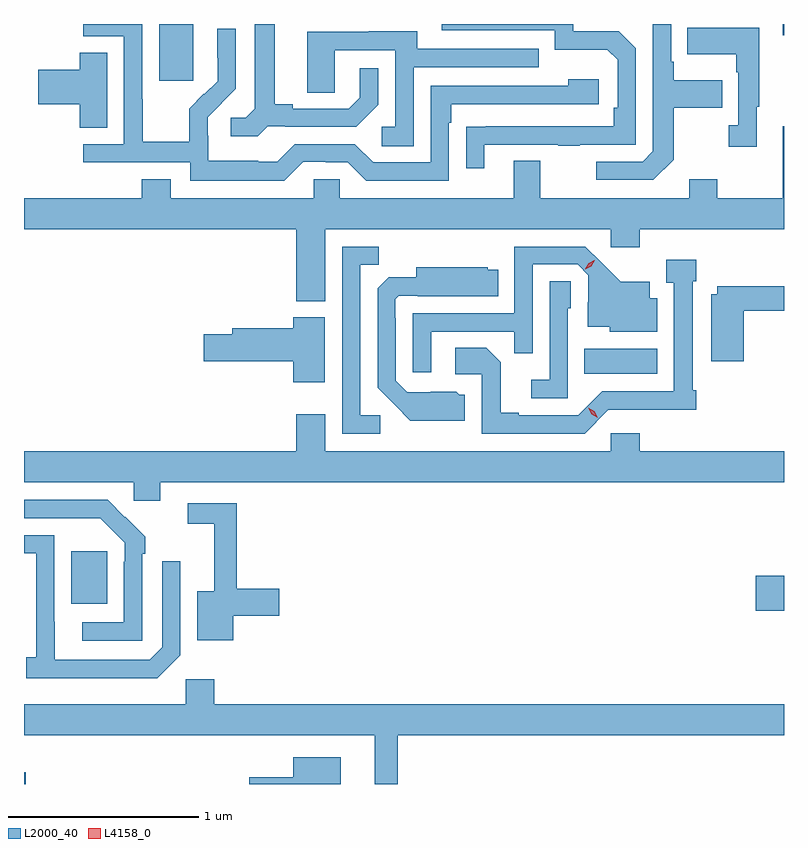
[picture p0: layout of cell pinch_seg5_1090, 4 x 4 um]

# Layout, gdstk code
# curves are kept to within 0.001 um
import gdstk
lib = gdstk.Library(unit=1e-6, precision=1e-09)
def R(c, l, rs):  # rectangles x0, y0, x1, y1
    for r in rs: c.add(gdstk.rectangle(r[:2], r[2:], *l))
def P(c, l, *ps):  # polygons
    for p in ps: c.add(gdstk.Polygon(p, *l))
L2000_40 = (2000, 40)
L4158_0 = (4158, 0)

pinch_seg5_1090 = lib.new_cell('pinch_seg5_1090')
R(pinch_seg5_1090, L2000_40, [(789.986,836.524,789.995,836.587), (793.836,837.437,793.986,837.62), (790.235,837.473,790.423,837.748), (792.934,838.682,793.318,838.816), (790.697,840.225,790.876,840.524), (793.979,840.465,793.986,840.524)])
P(pinch_seg5_1090, L2000_40, [(793.405,839.809),(793.405,840.082),(793.661,840.082),(793.661,840.229),(793.405,840.229),(793.405,840.325),(793.392,840.325),(793.392,840.524),(793.296,840.524),(793.296,839.853),(793.242,839.799),(792.999,839.799),(792.999,839.703),(793.299,839.703)],
  [(791.268,839.985),(791.362,839.985),(791.362,839.982),(791.734,839.982),(791.85,840.098),(791.85,840.292),(791.753,840.292),(791.753,840.135),(791.696,840.078),(791.401,840.078),(791.401,840.101),(791.305,840.101),(791.305,840.524),(791.201,840.524),(791.201,840.077),(791.154,840.03),(791.073,840.03),(791.073,839.933),(791.216,839.933)],
  [(792.409,839.889),(792.799,839.889),(792.799,839.884),(792.911,839.884),(792.911,839.889),(793.206,839.889),(793.206,840.396),(793.116,840.486),(792.876,840.486),(792.876,840.524),(792.185,840.524),(792.185,840.492),(792.78,840.492),(792.78,840.389),(793.057,840.389),(793.11,840.336),(793.11,840.082),(793.09,840.082),(793.09,839.985),(792.313,839.984),(792.313,839.766),(792.409,839.766)],
  [(791.457,839.799),(791.573,839.799),(791.573,839.796),(791.691,839.796),(791.787,839.7),(792.222,839.7),(792.222,840.005),(792.235,840.005),(792.235,840.102),(793.012,840.102),(793.012,840.232),(792.851,840.232),(792.851,840.198),(792.126,840.198),(792.126,839.796),(791.823,839.796),(791.727,839.892),(791.412,839.892),(791.319,839.799),(791.219,839.799),(791.219,839.803),(790.956,839.803),(790.956,839.937),(790.954,839.937),(790.954,840.034),(791.1,840.182),(791.1,840.5),(791.004,840.5),(791.004,840.346),(791.006,840.346),(791.006,840.224),(790.935,840.153),(790.932,840.156),(790.855,840.079),(790.855,839.905),(790.611,839.905),(790.611,840.128),(790.608,840.128),(790.608,840.524),(790.299,840.524),(790.299,840.459),(790.512,840.459),(790.512,839.892),(790.299,839.892),(790.299,839.796),(790.86,839.796),(790.86,839.699),(791.357,839.699)],
  [(793.843,840.089),(793.855,840.089),(793.855,840.505),(793.477,840.505),(793.477,840.365),(793.734,840.365),(793.734,840.269),(793.746,840.269),(793.746,839.99),(793.695,839.99),(793.695,839.877),(793.843,839.877)],
  [(792.036,840.297),(792.695,840.297),(792.695,840.393),(792.055,840.393),(792.055,840.487),(791.801,840.487),(791.801,840.483),(791.477,840.483),(791.477,840.163),(791.622,840.163),(791.622,840.387),(791.94,840.387),(791.94,839.982),(791.868,839.982),(791.868,839.881),(792.036,839.881)],
  [(790.423,840.374),(790.28,840.374),(790.28,840.284),(790.062,840.284),(790.062,840.101),(790.28,840.101),(790.28,839.977),(790.423,839.977)],
  [(791.572,839.444),(793.074,839.444),(793.074,839.349),(793.226,839.349),(793.226,839.444),(793.986,839.444),(793.986,839.986),(793.979,839.986),(793.979,839.608),(793.635,839.608),(793.635,839.707),(793.487,839.707),(793.487,839.608),(792.703,839.608),(792.703,839.803),(792.563,839.803),(792.563,839.608),(791.649,839.608),(791.649,839.706),(791.511,839.706),(791.511,839.608),(790.759,839.608),(790.759,839.707),(790.607,839.707),(790.607,839.608),(789.986,839.608),(789.986,839.444),(791.42,839.444),(791.42,839.066),(791.572,839.066)],
  [(791.86,838.464),(791.757,838.464),(791.757,839.257),(791.853,839.257),(791.853,839.352),(791.661,839.352),(791.661,838.368),(791.86,838.368)],
  [(792.129,838.905),(792.565,838.905),(792.565,838.792),(792.663,838.792),(792.663,839.259),(792.9,839.259),(792.957,839.202),(792.957,839.06),(792.953,839.06),(792.953,838.931),(793.068,838.931),(793.068,838.904),(793.318,838.904),(793.318,839.08),(793.279,839.08),(793.279,839.167),(793.127,839.167),(792.94,839.352),(792.567,839.352),(792.567,839.001),(792.033,839.001),(792.033,838.692),(792.129,838.692)],
  [(793.062,838.494),(793.525,838.493),(793.525,838.597),(793.507,838.597),(793.507,839.171),(793.525,839.171),(793.525,839.284),(793.367,839.284),(793.367,839.163),(793.406,839.163),(793.406,838.59),(793.029,838.59),(792.903,838.464),(792.589,838.464),(792.589,838.477),(792.495,838.477),(792.495,838.744),(792.419,838.82),(792.255,838.82),(792.255,838.68),(792.396,838.68),(792.396,838.368),(792.936,838.368)],
  [(792.307,838.572),(792.276,838.572),(792.26,838.588),(792.003,838.587),(791.943,838.647),(791.943,838.976),(791.94,838.976),(791.94,839.076),(791.958,839.094),(792.058,839.094),(792.058,839.09),(792.482,839.09),(792.482,839.23),(792.426,839.23),(792.426,839.245),(792.05,839.245),(792.05,839.191),(791.906,839.191),(791.847,839.132),(791.847,838.61),(792.019,838.436),(792.307,838.436)],
  [(792.849,839.028),(792.864,839.028),(792.864,839.171),(792.753,839.171),(792.753,838.651),(792.657,838.651),(792.657,838.554),(792.849,838.554)],
  [(793.775,839.014),(793.986,839.014),(793.986,839.143),(793.634,839.143),(793.634,839.101),(793.604,839.101),(793.604,838.749),(793.775,838.749)],
  [(791.569,838.981),(791.402,838.981),(791.402,838.922),(791.081,838.922),(791.081,838.892),(790.932,838.892),(790.932,838.75),(791.402,838.75),(791.402,838.638),(791.569,838.638)],
  [(790.702,838.112),(793.986,838.112),(793.986,838.276),(793.226,838.276),(793.226,838.369),(793.074,838.369),(793.074,838.276),(791.572,838.276),(791.572,838.471),(791.42,838.471),(791.42,838.276),(789.986,838.276),(789.986,838.112),(790.563,838.112),(790.563,838.014),(790.702,838.014)],
  [(790.608,837.737),(790.623,837.737),(790.623,837.825),(790.426,838.02),(789.986,838.02),(789.986,837.924),(790.387,837.924),(790.515,837.795),(790.515,837.695),(790.512,837.695),(790.512,837.375),(790.293,837.375),(790.293,837.279),(790.608,837.279)],
  [(791.086,837.409),(791.329,837.409),(791.329,837.551),(791.105,837.551),(791.105,838.002),(790.848,838.002),(790.848,837.894),(790.988,837.894),(790.988,837.538),(790.898,837.538),(790.898,837.281),(791.086,837.281)],
  [(790.809,837.201),(790.809,837.697),(790.713,837.697),(790.713,837.243),(790.647,837.177),(790.147,837.177),(790.146,837.834),(789.986,837.834),(789.986,837.738),(790.05,837.738),(790.05,837.19),(789.999,837.19),(789.999,837.08),(790.688,837.08)],
  [(791.953,836.78),(793.986,836.78),(793.986,836.944),(790.988,836.944),(790.988,837.076),(790.836,837.076),(790.836,836.944),(789.986,836.944),(789.986,836.78),(791.831,836.78),(791.831,836.524),(791.953,836.524)],
  [(791.653,836.665),(791.402,836.665),(791.402,836.56),(791.172,836.56),(791.172,836.524),(791.653,836.524)])
P(pinch_seg5_1090, L4158_0, [(793.005,838.452),(792.973,838.471),(792.956,838.504),(792.956,838.504),(792.957,838.504),(792.988,838.485),(793.005,838.452),(793.005,838.452)],
  [(792.94,839.234),(792.94,839.235),(792.958,839.264),(792.988,839.28),(792.989,839.28),(792.989,839.28),(792.971,839.25),(792.941,839.234)])

lib.write_gds('pinch_seg5_1090.gds')
